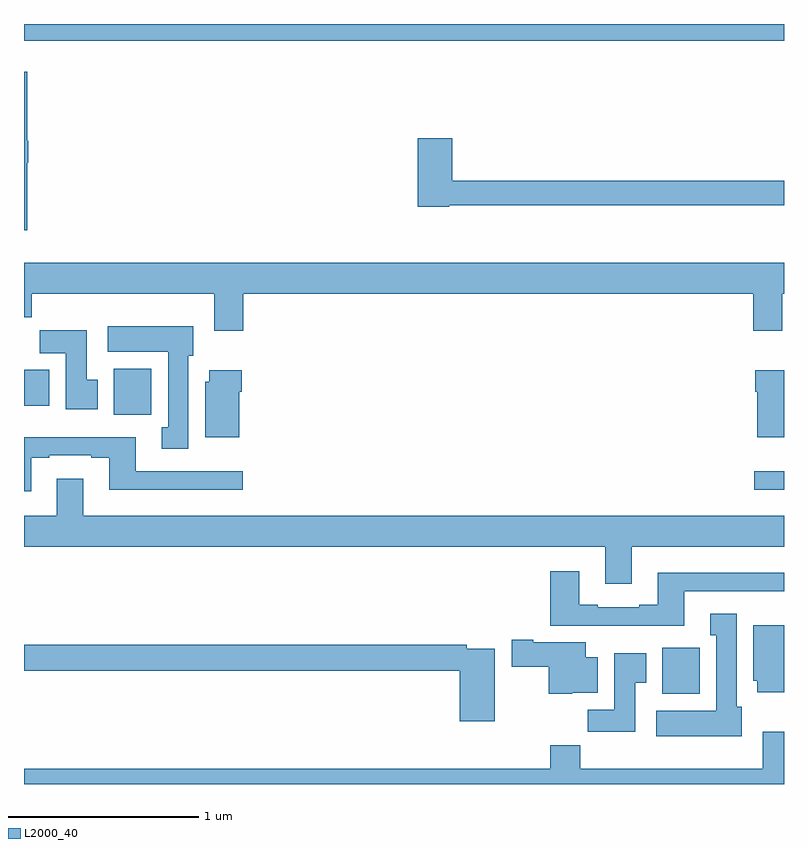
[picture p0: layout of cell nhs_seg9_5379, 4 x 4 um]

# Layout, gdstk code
import gdstk
lib = gdstk.Library(unit=1e-6, precision=1e-09)
def R(c, l, rs):  # rectangles x0, y0, x1, y1
    for r in rs: c.add(gdstk.rectangle(r[:2], r[2:], *l))
def P(c, l, *ps):  # polygons
    for p in ps: c.add(gdstk.Polygon(p, *l))
L2000_40 = (2000, 40)

nhs_seg9_5379 = lib.new_cell('nhs_seg9_5379')
R(nhs_seg9_5379, L2000_40, [(426.359,1200.974,426.556,1201.216), (426.843,1202.048,427,1202.145), (423.473,1202.444,423.67,1202.686), (423,1202.492,423.133,1202.68), (423,1204.412,427,1204.5)])
P(nhs_seg9_5379, L2000_40, [(423.017,1203.771),(423.022,1203.771),(423.022,1203.885),(423.017,1203.885),(423.017,1204.249),(423,1204.249),(423,1203.414),(423.017,1203.414)],
  [(425.238,1203.546),(427,1203.546),(427,1203.674),(425.255,1203.674),(425.255,1203.898),(425.072,1203.898),(425.072,1203.538),(425.238,1203.538)],
  [(424.154,1203.08),(426.839,1203.08),(426.839,1202.886),(426.991,1202.886),(426.991,1203.08),(427,1203.08),(427,1203.244),(423,1203.244),(423,1202.956),(423.041,1202.956),(423.041,1203.08),(424.001,1203.08),(424.001,1202.886),(424.154,1202.886)],
  [(423.865,1202.754),(423.892,1202.754),(423.892,1202.908),(423.441,1202.908),(423.441,1202.774),(423.758,1202.774),(423.758,1202.378),(423.725,1202.378),(423.725,1202.265),(423.865,1202.265)],
  [(423.388,1202.628),(423.331,1202.628),(423.331,1202.887),(423.082,1202.887),(423.082,1202.768),(423.221,1202.768),(423.221,1202.472),(423.388,1202.472)],
  [(427,1202.677),(426.848,1202.677),(426.848,1202.564),(426.86,1202.564),(426.86,1202.324),(427,1202.324)],
  [(424.132,1202.564),(424.145,1202.564),(424.145,1202.677),(423.974,1202.677),(423.974,1202.616),(423.953,1202.616),(423.953,1202.324),(424.132,1202.324)],
  [(423.037,1202.217),(423.133,1202.217),(423.133,1202.229),(423.353,1202.229),(423.353,1202.217),(423.449,1202.217),(423.449,1202.048),(424.15,1202.048),(424.15,1202.145),(423.589,1202.145),(423.589,1202.326),(423,1202.326),(423,1202.04),(423.037,1202.04)],
  [(426.199,1201.748),(427,1201.748),(427,1201.912),(423.313,1201.912),(423.313,1202.107),(423.173,1202.107),(423.173,1201.912),(423,1201.912),(423,1201.748),(426.059,1201.748),(426.059,1201.554),(426.199,1201.554)],
  [(426.475,1201.515),(427,1201.515),(427,1201.612),(426.335,1201.612),(426.335,1201.444),(426.239,1201.444),(426.239,1201.431),(426.019,1201.431),(426.019,1201.444),(425.923,1201.444),(425.923,1201.621),(425.771,1201.621),(425.771,1201.334),(426.475,1201.334)],
  [(426.778,1200.906),(426.751,1200.906),(426.751,1201.396),(426.611,1201.396),(426.611,1201.283),(426.644,1201.283),(426.644,1200.886),(426.327,1200.886),(426.327,1200.752),(426.778,1200.752)],
  [(427,1201.336),(426.839,1201.336),(426.839,1201.044),(426.86,1201.044),(426.86,1200.984),(427,1200.984)],
  [(425.886,1200.98),(426.019,1200.98),(426.019,1201.168),(425.956,1201.168),(425.956,1201.246),(425.68,1201.246),(425.68,1201.259),(425.568,1201.259),(425.568,1201.117),(425.761,1201.117),(425.761,1200.974),(425.886,1200.974)],
  [(425.477,1201.212),(425.33,1201.212),(425.33,1201.232),(423,1201.232),(423,1201.096),(425.294,1201.096),(425.294,1200.831),(425.477,1200.831)],
  [(426.217,1201.033),(426.274,1201.033),(426.274,1201.189),(426.107,1201.189),(426.107,1200.892),(425.968,1200.892),(425.968,1200.774),(426.217,1200.774)],
  [(427,1200.775),(426.887,1200.775),(426.887,1200.58),(425.927,1200.58),(425.927,1200.704),(425.771,1200.704),(425.771,1200.58),(423,1200.58),(423,1200.5),(427,1200.5)])

lib.write_gds('nhs_seg9_5379.gds')
